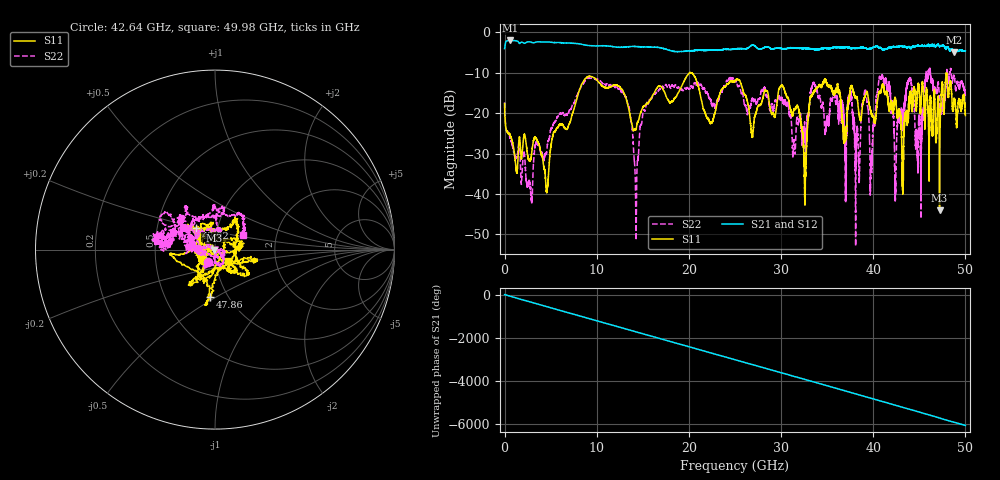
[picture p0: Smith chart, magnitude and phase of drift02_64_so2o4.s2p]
!Created with skrf (http://scikit-rf.org).
# Hz S RI R 50.0
!freq ReS11 ImS11 ReS21 ImS21 ReS12 ImS12 ReS22 ImS22
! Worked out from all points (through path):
!   10001 points, 300 kHz to 50 GHz, reference 50 ohm
!   highest |S21| = -2.00 dB at 605.3 MHz (marker M1); lowest = -4.8 dB at 48.77 GHz (marker M2)
!   group delay of S21, straight-line fit = 337 ps
!   lowest |S11| = -44.0 dB at 47.2 GHz (marker M3), VSWR 1.01, Z = 49.4 - j0.137 ohm
!   |S11| at or under -10 dB: start of sweep to 20.06 GHz; 20.20707 GHz to 20.22321 GHz (16.14 MHz wide, 0.0799 % of centre); 20.24 GHz to end of sweep (the widest 3 of 6)
!   |S22| runs from -52.9 to -8.8 dB; largest |S21 - S12| = 0.033
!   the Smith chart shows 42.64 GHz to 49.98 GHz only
!   S11 on the Smith chart (normalised r, x): 42.64 GHz: 0.87, -0.10; 43.92 GHz: 0.79, +0.19; 47.86 GHz: 0.83, -0.47; 49.98 GHz: 1.15, -0.14
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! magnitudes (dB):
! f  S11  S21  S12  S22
! 300 kHz  -17.6  -4.0  -4.0  -17.3
! 605.3 MHz  -25.4  -2.0  -2.0  -26.1
! 4.565 GHz  -39.7  -2.4  -2.4  -29.4
! 8.335 GHz  -13.0  -2.9  -2.9  -13.2
! 13.01 GHz  -15.3  -3.7  -3.7  -15.7
! 14.28 GHz  -23.8  -3.5  -3.5  -50.1
! 16.67 GHz  -13.3  -3.7  -3.7  -14.5
! 25 GHz  -12.1  -4.1  -4.1  -12.2
! 32.56 GHz  -40.8  -3.8  -3.9  -25.8
! 33.34 GHz  -15.7  -4.0  -4.0  -13.6
! 37.49 GHz  -14.5  -3.8  -3.8  -16.0
! 38.29 GHz  -16.8  -3.9  -3.9  -24.0
! 41.67 GHz  -18.3  -3.7  -3.9  -13.0
! 42.64 GHz  -21.1  -3.5  -3.5  -22.0
! 43.92 GHz  -16.0  -3.5  -3.6  -11.7
! 44.99 GHz  -14.2  -3.3  -3.3  -20.1
! 45.91 GHz  -17.6  -3.1  -3.1  -11.5
! 47.2 GHz  -44.0  -3.4  -3.5  -16.7
! 47.86 GHz  -11.5  -4.0  -4.0  -14.0
! 48.77 GHz  -16.9  -4.8  -4.8  -10.9
! 49.98 GHz  -20.2  -4.6  -4.6  -15.0
! 50 GHz  -20.6  -4.6  -4.6  -15.5
